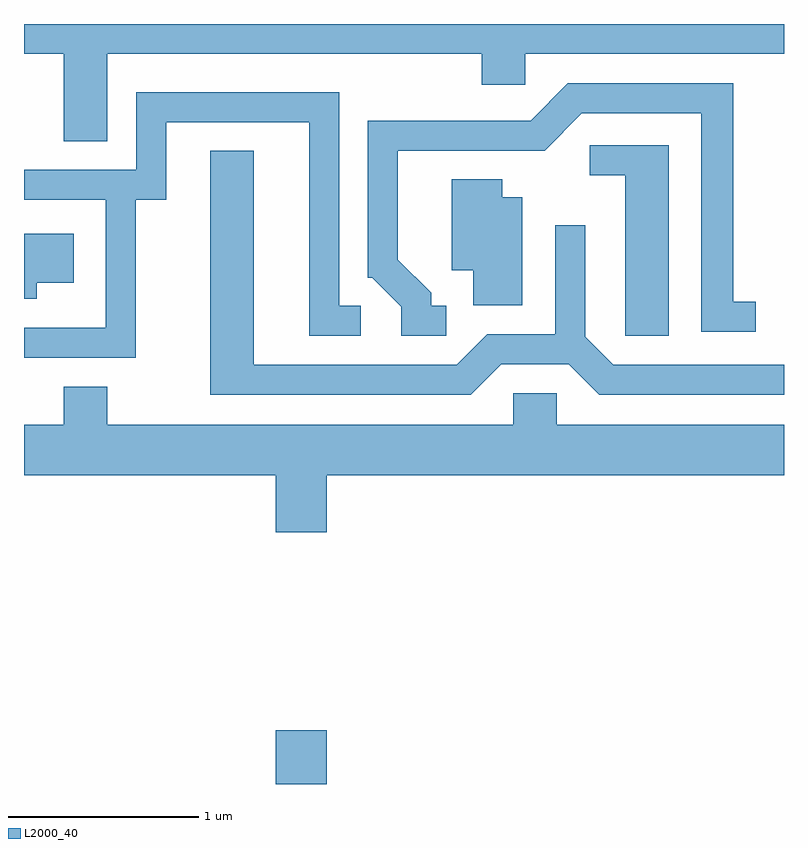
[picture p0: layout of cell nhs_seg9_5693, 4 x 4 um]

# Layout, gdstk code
import gdstk
lib = gdstk.Library(unit=1e-6, precision=1e-09)
def R(c, l, rs):  # rectangles x0, y0, x1, y1
    for r in rs: c.add(gdstk.rectangle(r[:2], r[2:], *l))
def P(c, l, *ps):  # polygons
    for p in ps: c.add(gdstk.Polygon(p, *l))
L2000_40 = (2000, 40)

nhs_seg9_5693 = lib.new_cell('nhs_seg9_5693')
R(nhs_seg9_5693, L2000_40, [(354.936,1972.432,355.204,1972.714)])
P(nhs_seg9_5693, L2000_40, [(353.611,1976.276),(353.821,1976.276),(353.821,1975.816),(354.049,1975.816),(354.049,1976.276),(356.021,1976.276),(356.021,1976.111),(356.249,1976.111),(356.249,1976.276),(357.611,1976.276),(357.611,1976.432),(353.611,1976.432)],
  [(355.833,1974.949),(355.754,1974.949),(355.754,1975.017),(355.579,1975.192),(355.579,1975.766),(356.352,1975.766),(356.547,1975.961),(357.176,1975.961),(357.176,1974.811),(357.463,1974.811),(357.463,1974.969),(357.344,1974.969),(357.344,1976.119),(356.474,1976.119),(356.279,1975.924),(355.421,1975.924),(355.421,1975.096),(355.444,1975.096),(355.596,1974.944),(355.596,1974.791),(355.833,1974.791)],
  [(354.199,1975.506),(354.359,1975.506),(354.359,1975.916),(355.111,1975.916),(355.111,1974.791),(355.383,1974.791),(355.383,1974.949),(355.269,1974.949),(355.269,1976.074),(354.201,1976.074),(354.201,1975.664),(353.611,1975.664),(353.611,1975.506),(354.041,1975.506),(354.041,1974.834),(353.611,1974.834),(353.611,1974.676),(354.199,1974.676)],
  [(357.004,1975.794),(356.588,1975.794),(356.588,1975.636),(356.776,1975.636),(356.776,1974.791),(357.004,1974.791)],
  [(356.122,1974.641),(356.479,1974.641),(356.639,1974.481),(357.611,1974.481),(357.611,1974.639),(356.712,1974.639),(356.564,1974.787),(356.564,1975.373),(356.406,1975.373),(356.406,1974.799),(356.049,1974.799),(355.889,1974.639),(354.819,1974.639),(354.819,1975.764),(354.591,1975.764),(354.591,1974.481),(355.962,1974.481)],
  [(356.234,1975.519),(356.129,1975.519),(356.129,1975.614),(355.861,1975.614),(355.861,1975.136),(355.976,1975.136),(355.976,1974.951),(356.234,1974.951)],
  [(353.679,1975.071),(353.874,1975.071),(353.874,1975.329),(353.611,1975.329),(353.611,1974.986),(353.679,1974.986)],
  [(355.204,1974.056),(357.611,1974.056),(357.611,1974.324),(356.414,1974.324),(356.414,1974.489),(356.186,1974.489),(356.186,1974.324),(354.049,1974.324),(354.049,1974.524),(353.821,1974.524),(353.821,1974.324),(353.611,1974.324),(353.611,1974.056),(354.936,1974.056),(354.936,1973.756),(355.204,1973.756)])

lib.write_gds('nhs_seg9_5693.gds')
